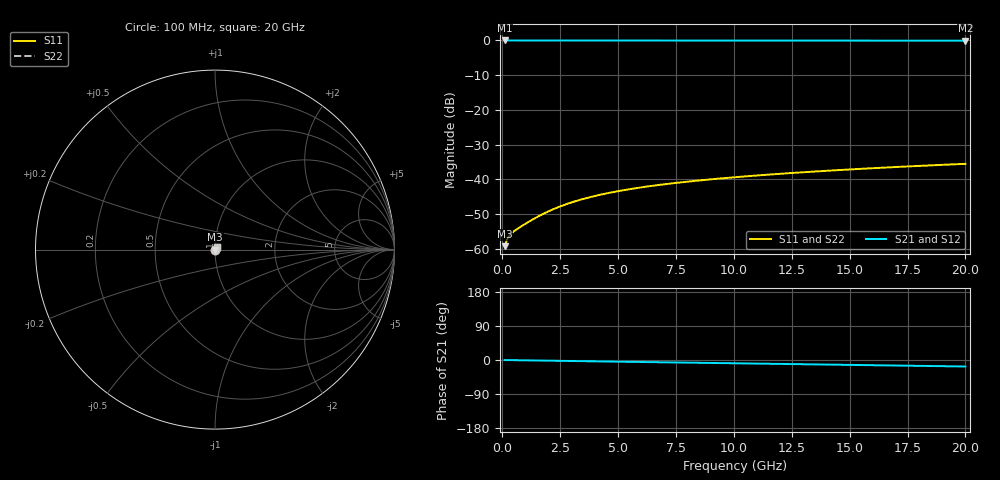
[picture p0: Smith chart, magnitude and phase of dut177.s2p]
! Touchstone file exported from HFSS 2026.1.0
!  File:  C:/ffzhzh/LocalFiles/Ansys_Project_Files/temp_train_TMRDL_177_1782983565_41620.aedt
!  Generated:  05:13:54 PM Jul  2, 2026
!  Design:  TMRDL
!  Project:  temp_train_TMRDL_177_1782983565_41620
! Variables:
!  h_bsmrdl = 2um
!  h_ox = 20um
!  h_rdl = 5um
!  h_sub = 80um
!  h_tmrdl = 4.56um
!  h_tsv = 80um
!  h_via = 3um
!  l_bsmrdl = 300um
!  l_sub = 691.96um
!  l_tmrdl = 291.96um
!  m_sub = 200um
!  pitch = 35.8um
!  r_tsv = 6um
!  s_tmrdl = 10um
!  w_bsmrdl = 18um
!  w_sub = 500um
!  w_tmrdl = 29.83um
!  x_tsv_center1 = 306.875um
!  x_tsv_center2 = 624.875um
!  x_tsv_center3 = 946.665um
!  x_tsv_center4 = 1264.665um
!  x_tsv_center5 = 1586.455um
!  x_tsv_center6 = 1904.455um
# GHz S MA R 50.000000
! Terminal data exported
! Port[1] = TM_RDL1_1_T1
! Port[2] = TM_RDL1_1_T2
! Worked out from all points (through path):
!   200 points, 100 MHz to 20 GHz, reference 50 ohm
!   highest |S21| = -0.01 dB at 100 MHz (marker M1); lowest = -0.1 dB at 20 GHz (marker M2)
!   group delay of S21, straight-line fit = 2.37 ps
!   lowest |S11| = -59.3 dB at 100 MHz (marker M3), VSWR 1.00, Z = 50.1 + j0.0372 ohm
!   |S11| at or under -10 dB: start of sweep to end of sweep
!   |S22| runs from -59.3 to -35.6 dB; largest |S21 - S12| = 3.4e-15
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0.1  0.001087 20.0  0.999 -0.1  0.999 -0.1  0.001087 20.0
! Gamma 0 0 0 0
! Port Impedance 50 0 50 0
0.2  0.001339 26.9  0.9988 -0.2  0.9988 -0.2  0.001339 26.9
0.3  0.001529 29.3  0.9987 -0.3  0.9987 -0.3  0.001528 29.2
0.4  0.001666 31.0  0.9986 -0.4  0.9986 -0.4  0.001666 31.0
0.6  0.00188 34.9  0.9985 -0.6  0.9985 -0.6  0.001879 34.9
1.1  0.002396 44.1  0.9983 -1.0  0.9983 -1.0  0.002396 44.1
1.4  0.002738 48.1  0.9982 -1.3  0.9982 -1.3  0.002737 48.1
1.7  0.003094 50.9  0.9981 -1.5  0.9981 -1.5  0.003094 50.9
2.2  0.0037 53.8  0.9979 -2.0  0.9979 -2.0  0.0037 53.8
2.8  0.004417 55.4  0.9976 -2.5  0.9976 -2.5  0.004416 55.5
3.1  0.004764 55.8  0.9975 -2.8  0.9975 -2.8  0.004763 55.8
3.5  0.005213 56.0  0.9973 -3.1  0.9973 -3.1  0.005212 56.1
4.2  0.005957 55.9  0.997 -3.7  0.997 -3.7  0.005955 56.0
5  0.006743 55.5  0.9966 -4.4  0.9966 -4.4  0.006741 55.5
5.8  0.00747 54.9  0.9962 -5.1  0.9962 -5.1  0.007466 54.9
6.8  0.00831 54.1  0.9958 -5.9  0.9958 -5.9  0.008305 54.2
8.3  0.009466 53.0  0.9953 -7.2  0.9953 -7.2  0.009458 53.1
10.1  0.01074 51.9  0.9947 -8.8  0.9947 -8.8  0.01073 52.0
11.7  0.0118 50.9  0.9942 -10.1  0.9942 -10.1  0.01179 51.0
13.4  0.01288 49.9  0.9938 -11.6  0.9938 -11.6  0.01286 50.0
16.7  0.01485 47.9  0.9929 -14.4  0.9929 -14.4  0.01482 48.1
20  0.01668 45.7  0.9922 -17.1  0.9922 -17.1  0.01664 46.0
